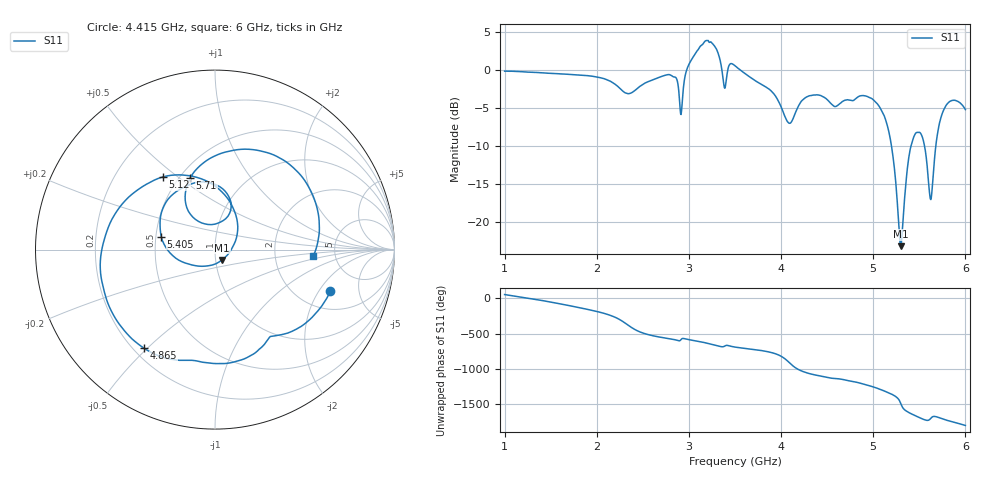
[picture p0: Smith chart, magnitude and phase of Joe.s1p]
!Agilent Technologies,E8364B,MY43040633,A.07.50.37
!Agilent E8364B: A.07.50.37
!Date: Tuesday, December 16, 2025 17:07:10
!Correction: S11(Full 1 Port(1))
!S1P File: Measurement: S11:
# Hz S  RI  R 50
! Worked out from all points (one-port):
!   1001 points, 1 GHz to 6 GHz, reference 50 ohm
!   lowest |S11| = -23.2 dB at 5.3 GHz (marker M1), VSWR 1.15, Z = 53.7 - j6.21 ohm
!   |S11| at or under -10 dB: 5.198 GHz to 5.41 GHz (211.9 MHz wide, 3.99 % of centre); 5.556 GHz to 5.679 GHz (122.5 MHz wide, 2.18 % of centre)
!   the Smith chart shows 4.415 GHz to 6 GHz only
!   S11 on the Smith chart (normalised r, x): 4.415 GHz: 2.98, -2.54; 4.865 GHz: 0.24, -0.49; 5.12 GHz: 0.41, +0.44; 5.405 GHz: 0.53, +0.09; 5.71 GHz: 0.56, +0.55; 6 GHz: 3.39, -0.35
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1e9  0.5689 0.8
1.32e9  0.948 -0.1771
1.625e9  0.114 -0.9338
1.99e9  -0.9002 0.0393
2.155e9  -0.3585 0.7576
2.25e9  0.3985 0.6437
2.33e9  0.6872 -0.133
2.435e9  -0.083 -0.7464
2.625e9  -0.8663 -0.0774
2.875e9  -0.4617 0.703
2.935e9  -0.6229 0.3364
3.02e9  -0.7312 0.8826
3.19e9  0.1116 1.556
3.305e9  0.8981 1
3.5e9  0.9335 0.5143
3.95e9  0.2132 -0.6223
4.125e9  -0.2763 0.3813
4.26e9  0.5583 0.3417
4.415e9  0.643 -0.2283
4.75e9  -0.0398 -0.6314
4.865e9  -0.3947 -0.5497
5.12e9  -0.2898 0.4053
5.3e9  0.0388 -0.0576
5.375e9  -0.2356 -0.0334
5.405e9  -0.2995 0.0727
5.625e9  -0.0192 0.1393
5.71e9  -0.1395 0.3974
6e9  0.5477 -0.0355
